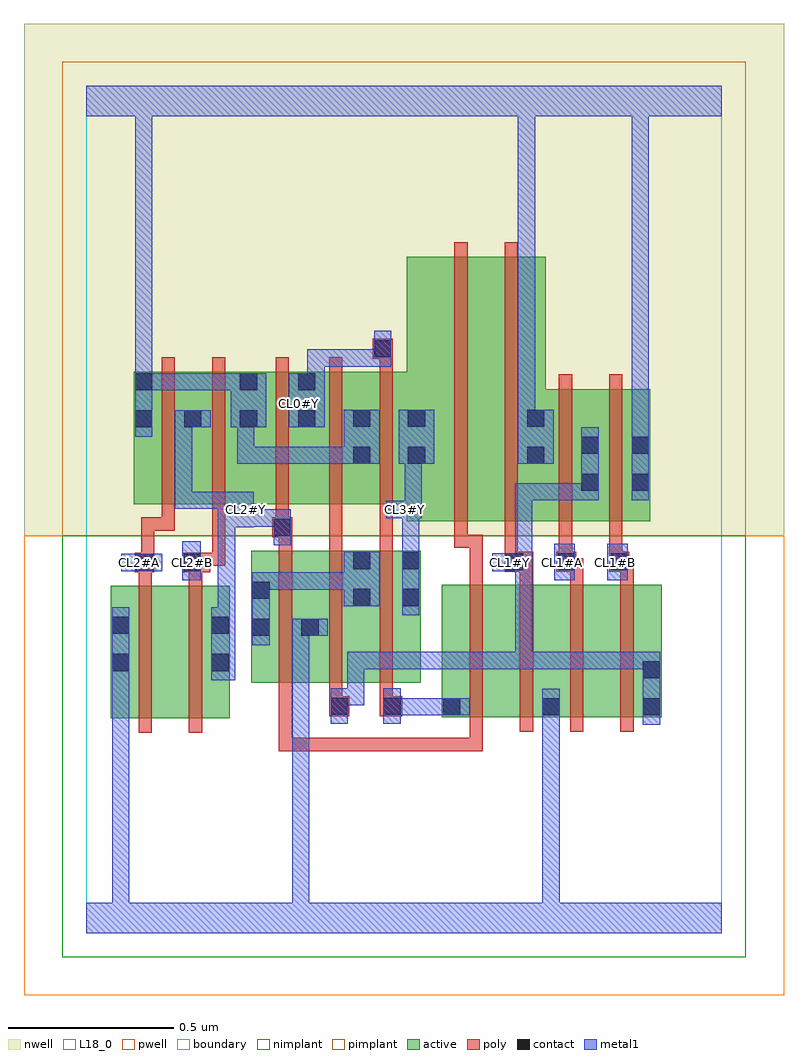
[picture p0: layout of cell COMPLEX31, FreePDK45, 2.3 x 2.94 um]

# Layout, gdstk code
import gdstk
lib = gdstk.Library(unit=1e-6, precision=1e-09)
def R(c, l, rs):  # rectangles x0, y0, x1, y1
    for r in rs: c.add(gdstk.rectangle(r[:2], r[2:], *l))
def A(c, l, x, y, w, h, nx, ny, dx, dy):  # array of equal rectangles
    R(c, l, [(x+i*dx, y+j*dy, x+i*dx+w, y+j*dy+h) for i in range(nx) for j in range(ny)])
active = (1, 0)
pwell = (2, 0)
nwell = (3, 0)
nimplant = (4, 0)
pimplant = (5, 0)
poly = (9, 0)
contact = (10, 0)
metal1 = (11, 0)
L18_0 = (18, 0)
boundary = (235, 0)

complex31 = lib.new_cell('COMPLEX31')
R(complex31, active, [(0.074,0.65,0.134,1.05), (0.074,0.65,0.254,1.05), (0.254,0.65,0.434,1.05), (0.374,0.65,0.434,1.05), (1.074,0.652,1.254,1.052), (1.254,0.652,1.434,1.052), (1.374,0.652,1.558,1.052), (1.374,0.652,1.434,0.828), (1.558,0.652,1.738,1.052), (1.678,0.652,1.738,1.052), (1.074,0.654,1.134,0.796), (0.498,0.756,0.558,1.156), (0.498,0.756,0.706,1.156), (0.646,0.756,0.862,1.156), (0.646,0.756,0.706,0.954), (0.802,0.756,0.862,1.156), (0.802,0.756,1.01,1.156), (0.95,0.756,1.01,1.156), (0.968,1.244,1.208,2.044), (1.208,1.244,1.388,2.044), (1.328,1.244,1.552,1.644), (1.328,1.244,1.388,2.044), (1.492,1.244,1.552,1.644), (1.492,1.244,1.704,1.644), (1.644,1.244,1.704,1.644), (0.144,1.296,0.204,1.696), (0.144,1.296,0.352,1.696), (0.292,1.296,0.352,1.696), (0.292,1.296,0.52,1.696), (0.46,1.296,0.52,1.696), (0.46,1.296,0.696,1.696), (0.636,1.296,0.862,1.696), (0.802,1.296,0.862,1.696), (0.802,1.296,1.028,1.696), (0.968,1.296,1.028,2.044), (0.636,1.338,0.696,1.696)])
R(complex31, pwell, [(-0.188,-0.188,2.108,1.2)])
R(complex31, nwell, [(-0.188,1.2,2.108,2.748)])
R(complex31, nimplant, [(-0.072,-0.072,1.992,1.2)])
R(complex31, pimplant, [(-0.072,1.2,1.992,2.632)])
A(complex31, poly, 0.582, 0.55, 0.04, 0.04, 3, 1, 0.106, 0)
A(complex31, poly, 1.158, 0.608, 0.04, 0.488, 4, 1, 0.152, 0)
A(complex31, poly, 0.582, 0.712, 0.04, 0.488, 3, 1, 0.152, 0)
A(complex31, poly, 1.31, 1.056, 0.04, 0.076, 3, 1, 0.152, 0)
R(complex31, poly, [(0.582,0.55,0.622,0.59), (0.582,0.55,0.622,0.59), (0.582,0.55,0.622,0.59), (0.582,0.55,0.622,0.59), (0.582,0.55,0.728,0.59), (0.582,0.55,0.622,0.752), (0.688,0.55,0.834,0.59), (0.794,0.55,0.834,0.59), (0.794,0.55,0.834,0.59), (0.794,0.55,1.046,0.59), (1.006,0.55,1.046,0.59), (1.006,0.55,1.046,0.59), (1.006,0.55,1.046,0.59), (1.006,0.55,1.198,0.59), (1.158,0.55,1.198,0.59), (1.158,0.55,1.198,0.59), (1.158,0.55,1.198,0.59), (1.158,0.55,1.198,0.648), (0.158,0.606,0.198,1.094), (0.31,0.606,0.35,1.094), (0.734,0.656,0.794,0.716), (0.886,0.656,0.954,0.716), (0.734,0.676,0.774,0.752), (0.886,0.676,0.926,0.752), (0.158,1.054,0.198,1.13), (0.31,1.054,0.35,1.13), (1.158,1.056,1.198,1.204), (0.146,1.09,0.206,1.15), (0.29,1.09,0.374,1.15), (1.264,1.092,1.35,1.152), (1.42,1.092,1.48,1.152), (1.44,1.092,1.48,1.132), (1.44,1.092,1.502,1.132), (1.58,1.092,1.64,1.152), (1.6,1.092,1.64,1.132), (1.6,1.092,1.654,1.132), (0.166,1.11,0.206,1.256), (0.334,1.11,0.374,1.15), (0.334,1.11,0.42,1.15), (0.38,1.11,0.42,1.292), (1.264,1.112,1.304,1.24), (1.264,1.112,1.304,1.152), (1.264,1.112,1.304,1.152), (1.428,1.112,1.468,1.24), (1.58,1.112,1.62,1.24), (0.582,1.16,0.622,1.236), (0.734,1.16,0.774,1.236), (0.886,1.16,0.926,1.256), (1.112,1.164,1.152,1.24), (1.112,1.164,1.198,1.204), (1.158,1.164,1.198,1.204), (1.158,1.164,1.198,1.204), (0.562,1.196,0.622,1.256), (0.582,1.196,0.622,1.236), (0.582,1.196,0.622,1.236), (0.734,1.196,0.774,1.236), (0.734,1.196,0.774,1.236), (0.734,1.196,0.774,1.236), (0.734,1.196,0.774,1.292), (1.112,1.2,1.152,2.088), (1.264,1.2,1.304,2.088), (1.428,1.2,1.468,1.688), (1.58,1.2,1.62,1.688), (0.166,1.216,0.268,1.256), (0.228,1.216,0.268,1.292), (0.572,1.216,0.612,1.292), (0.886,1.216,0.926,1.256), (0.886,1.216,0.926,1.256), (0.886,1.216,0.926,1.256), (0.886,1.216,0.926,1.292), (0.228,1.252,0.268,1.74), (0.38,1.252,0.42,1.74), (0.572,1.252,0.612,1.74), (0.734,1.252,0.774,1.74), (0.886,1.252,0.926,1.74), (0.886,1.7,0.926,1.776), (0.866,1.736,0.926,1.796)])
R(complex31, contact, [(1.078,0.658,1.13,0.71), (1.378,0.658,1.43,0.71), (1.682,0.658,1.734,0.71), (0.738,0.66,0.79,0.712), (0.898,0.66,0.95,0.712), (1.682,0.77,1.734,0.822), (0.078,0.792,0.13,0.844), (0.378,0.792,0.43,0.844), (0.502,0.898,0.554,0.95), (0.65,0.898,0.702,0.95), (0.078,0.904,0.13,0.956), (0.378,0.904,0.43,0.956), (0.806,0.988,0.858,1.04), (0.954,0.988,1.006,1.04), (0.502,1.01,0.554,1.062), (0.15,1.094,0.202,1.146), (0.294,1.094,0.346,1.146), (1.268,1.096,1.32,1.148), (1.424,1.096,1.476,1.148), (1.584,1.096,1.636,1.148), (0.806,1.1,0.858,1.152), (0.954,1.1,1.006,1.152), (0.566,1.2,0.618,1.252), (1.496,1.336,1.548,1.388), (1.648,1.336,1.7,1.388), (0.806,1.418,0.858,1.47), (0.972,1.418,1.024,1.47), (1.332,1.418,1.384,1.47), (1.496,1.448,1.548,1.5), (1.648,1.448,1.7,1.5), (0.148,1.528,0.2,1.58), (0.296,1.528,0.348,1.58), (0.464,1.528,0.516,1.58), (0.64,1.528,0.692,1.58), (0.806,1.53,0.858,1.582), (0.972,1.53,1.024,1.582), (1.332,1.53,1.384,1.582), (0.148,1.64,0.2,1.692), (0.464,1.64,0.516,1.692), (0.64,1.64,0.692,1.692), (0.87,1.74,0.922,1.792)])
A(complex31, metal1, 1.076, 0.798, 0.052, 0.052, 3, 1, 0.11, 0)
R(complex31, metal1, [(0,0,1.92,0.092), (0.078,0.04,0.13,0.092), (0.078,0.04,0.13,0.092), (0.078,0.04,0.13,0.092), (0.078,0.04,0.13,0.092), (0.078,0.04,0.13,0.092), (0.078,0.04,0.13,0.092), (0.078,0.04,0.13,0.092), (0.078,0.04,0.13,0.092), (0.078,0.04,0.13,0.092), (0.078,0.04,0.13,0.092), (0.078,0.04,0.13,0.092), (0.078,0.04,0.13,0.092), (0.078,0.04,0.13,0.816), (0.622,0.04,0.674,0.092), (0.622,0.04,0.674,0.092), (0.622,0.04,0.674,0.092), (0.622,0.04,0.674,0.092), (0.622,0.04,0.674,0.092), (0.622,0.04,0.674,0.092), (0.622,0.04,0.674,0.092), (0.622,0.04,0.674,0.092), (0.622,0.04,0.674,0.092), (0.622,0.04,0.674,0.092), (0.622,0.04,0.674,0.95), (1.378,0.04,1.43,0.092), (1.378,0.04,1.43,0.092), (1.378,0.04,1.43,0.092), (1.378,0.04,1.43,0.092), (1.378,0.04,1.43,0.092), (1.378,0.04,1.43,0.092), (1.378,0.04,1.43,0.092), (1.378,0.04,1.43,0.092), (1.378,0.04,1.43,0.092), (1.378,0.04,1.43,0.092), (1.378,0.04,1.43,0.092), (1.378,0.04,1.43,0.092), (1.378,0.04,1.43,0.682), (1.378,0.63,1.43,0.738), (1.682,0.63,1.734,0.85), (0.738,0.632,0.79,0.74), (0.898,0.632,0.95,0.74), (0.898,0.658,0.95,0.71), (0.898,0.658,0.95,0.71), (0.898,0.658,1.102,0.71), (1.05,0.658,1.102,0.71), (1.05,0.658,1.102,0.71), (1.05,0.658,1.158,0.71), (0.738,0.688,0.84,0.74), (0.788,0.688,0.84,0.74), (0.788,0.688,0.84,0.85), (0.078,0.764,0.13,0.984), (0.378,0.764,0.45,0.984), (0.788,0.798,0.84,0.85), (0.788,0.798,0.95,0.85), (0.898,0.798,0.95,0.85), (0.898,0.798,0.95,0.85), (0.898,0.798,0.95,0.85), (0.898,0.798,0.95,0.85), (0.898,0.798,0.95,0.85), (0.898,0.798,0.95,0.85), (0.898,0.798,0.95,0.85), (0.898,0.798,1.128,0.85), (1.076,0.798,1.128,0.85), (1.076,0.798,1.128,0.85), (1.076,0.798,1.128,0.85), (1.076,0.798,1.128,0.85), (1.076,0.798,1.238,0.85), (1.186,0.798,1.348,0.85), (1.296,0.798,1.348,0.85), (1.296,0.798,1.348,0.85), (1.296,0.798,1.516,0.85), (1.296,0.798,1.348,1.148), (1.464,0.798,1.516,0.85), (1.464,0.798,1.516,0.85), (1.464,0.798,1.516,0.85), (1.464,0.798,1.734,0.85), (1.682,0.798,1.734,0.85), (1.682,0.798,1.734,0.85), (0.502,0.87,0.554,1.09), (0.622,0.898,0.674,0.95), (0.622,0.898,0.674,0.95), (0.622,0.898,0.73,0.95), (0.398,0.932,0.45,0.984), (0.398,0.932,0.45,0.984), (0.398,0.932,0.45,1.278), (0.954,0.96,1.006,1.18), (0.778,0.988,0.886,1.152), (0.502,1.038,0.664,1.09), (0.612,1.038,0.664,1.09), (0.612,1.038,0.664,1.09), (0.612,1.038,0.664,1.09), (0.612,1.038,0.774,1.09), (0.722,1.038,0.774,1.09), (0.722,1.038,0.83,1.09), (0.29,1.066,0.346,1.184), (1.414,1.066,1.476,1.176), (1.574,1.066,1.636,1.176), (0.106,1.094,0.23,1.146), (1.226,1.094,1.348,1.148), (1.296,1.096,1.348,1.148), (1.296,1.096,1.348,1.148), (1.296,1.096,1.348,1.36), (0.954,1.128,1.006,1.306), (0.566,1.172,0.618,1.28), (0.398,1.226,0.506,1.334), (0.454,1.228,0.506,1.28), (0.454,1.228,0.506,1.28), (0.454,1.228,0.618,1.28), (0.906,1.254,1.014,1.306), (0.962,1.254,1.014,1.47), (0.268,1.282,0.32,1.334), (0.268,1.282,0.32,1.334), (0.268,1.282,0.32,1.334), (0.268,1.282,0.45,1.334), (0.268,1.282,0.32,1.58), (1.296,1.308,1.348,1.36), (1.296,1.308,1.348,1.36), (1.296,1.308,1.348,1.36), (1.296,1.308,1.458,1.36), (1.406,1.308,1.458,1.36), (1.406,1.308,1.548,1.36), (1.496,1.308,1.548,1.528), (1.648,1.308,1.7,1.528), (0.456,1.418,0.508,1.47), (0.456,1.418,0.508,1.47), (0.456,1.418,0.508,1.47), (0.456,1.418,0.508,1.58), (0.456,1.418,0.664,1.47), (0.612,1.418,0.664,1.47), (0.612,1.418,0.664,1.47), (0.612,1.418,0.664,1.47), (0.612,1.418,0.774,1.47), (0.722,1.418,0.774,1.47), (0.722,1.418,0.83,1.47), (0.778,1.418,0.886,1.582), (0.944,1.418,1.052,1.582), (0.962,1.418,1.014,1.47), (0.962,1.418,1.014,1.47), (1.304,1.418,1.412,1.582), (1.648,1.476,1.7,1.528), (1.648,1.476,1.7,1.528), (1.648,1.476,1.7,1.528), (1.648,1.476,1.7,1.528), (1.648,1.476,1.7,1.528), (1.648,1.476,1.7,1.528), (1.648,1.476,1.7,2.52), (0.148,1.5,0.2,1.72), (0.268,1.528,0.376,1.58), (0.436,1.528,0.544,1.692), (0.456,1.528,0.508,1.58), (0.456,1.528,0.508,1.58), (0.456,1.528,0.508,1.58), (0.456,1.528,0.508,1.58), (0.612,1.528,0.72,1.692), (1.304,1.53,1.356,1.582), (1.304,1.53,1.356,1.582), (1.304,1.53,1.356,2.52), (0.148,1.64,0.2,1.692), (0.148,1.64,0.2,1.692), (0.148,1.64,0.32,1.692), (0.268,1.64,0.32,1.692), (0.268,1.64,0.32,1.692), (0.268,1.64,0.32,1.692), (0.268,1.64,0.488,1.692), (0.668,1.64,0.72,1.764), (0.148,1.668,0.2,2.52), (0.668,1.712,0.72,1.764), (0.668,1.712,0.774,1.764), (0.722,1.712,0.774,1.764), (0.722,1.712,0.84,1.764), (0.788,1.712,0.84,1.764), (0.788,1.712,0.922,1.764), (0.87,1.712,0.922,1.82), (0,2.468,1.92,2.56), (0.148,2.468,0.2,2.52), (0.148,2.468,0.2,2.52), (0.148,2.468,0.2,2.52), (0.148,2.468,0.2,2.52), (0.148,2.468,0.2,2.52), (0.148,2.468,0.2,2.52), (0.148,2.468,0.2,2.52), (0.148,2.468,0.2,2.52), (0.148,2.468,0.2,2.52), (0.148,2.468,0.2,2.52), (0.148,2.468,0.2,2.52), (0.148,2.468,0.2,2.52), (0.148,2.468,0.2,2.52), (0.148,2.468,0.2,2.52), (0.148,2.468,0.2,2.52), (0.148,2.468,0.2,2.52), (1.304,2.468,1.356,2.52), (1.304,2.468,1.356,2.52), (1.304,2.468,1.356,2.52), (1.304,2.468,1.356,2.52), (1.304,2.468,1.356,2.52), (1.304,2.468,1.356,2.52), (1.648,2.468,1.7,2.52), (1.648,2.468,1.7,2.52), (1.648,2.468,1.7,2.52), (1.648,2.468,1.7,2.52), (1.648,2.468,1.7,2.52), (1.648,2.468,1.7,2.52), (1.648,2.468,1.7,2.52), (1.648,2.468,1.7,2.52), (1.648,2.468,1.7,2.52), (1.648,2.468,1.7,2.52)])
A(complex31, L18_0, 1.076, 0.798, 0.052, 0.052, 3, 1, 0.11, 0)
A(complex31, L18_0, 1.254, 1.094, 0.052, 0.052, 3, 1, 0.16, 0)
R(complex31, L18_0, [(0,0,1.92,0.092), (0.078,0.04,0.13,0.092), (0.078,0.04,0.13,0.092), (0.078,0.04,0.13,0.092), (0.078,0.04,0.13,0.092), (0.078,0.04,0.13,0.092), (0.078,0.04,0.13,0.092), (0.078,0.04,0.13,0.092), (0.078,0.04,0.13,0.092), (0.078,0.04,0.13,0.092), (0.078,0.04,0.13,0.092), (0.078,0.04,0.13,0.092), (0.078,0.04,0.13,0.092), (0.078,0.04,0.13,0.816), (0.622,0.04,0.674,0.092), (0.622,0.04,0.674,0.092), (0.622,0.04,0.674,0.092), (0.622,0.04,0.674,0.092), (0.622,0.04,0.674,0.092), (0.622,0.04,0.674,0.092), (0.622,0.04,0.674,0.092), (0.622,0.04,0.674,0.092), (0.622,0.04,0.674,0.092), (0.622,0.04,0.674,0.092), (0.622,0.04,0.674,0.95), (1.378,0.04,1.43,0.092), (1.378,0.04,1.43,0.092), (1.378,0.04,1.43,0.092), (1.378,0.04,1.43,0.092), (1.378,0.04,1.43,0.092), (1.378,0.04,1.43,0.092), (1.378,0.04,1.43,0.092), (1.378,0.04,1.43,0.092), (1.378,0.04,1.43,0.092), (1.378,0.04,1.43,0.092), (1.378,0.04,1.43,0.092), (1.378,0.04,1.43,0.092), (1.378,0.04,1.43,0.682), (1.378,0.63,1.43,0.738), (1.682,0.63,1.734,0.85), (0.738,0.632,0.79,0.74), (0.898,0.632,0.95,0.74), (0.898,0.658,0.95,0.71), (0.898,0.658,0.95,0.71), (0.898,0.658,1.102,0.71), (1.05,0.658,1.102,0.71), (1.05,0.658,1.102,0.71), (1.05,0.658,1.158,0.71), (0.738,0.688,0.84,0.74), (0.788,0.688,0.84,0.74), (0.788,0.688,0.84,0.85), (0.078,0.764,0.13,0.984), (0.378,0.764,0.45,0.984), (0.788,0.798,0.84,0.85), (0.788,0.798,0.95,0.85), (0.898,0.798,0.95,0.85), (0.898,0.798,0.95,0.85), (0.898,0.798,0.95,0.85), (0.898,0.798,0.95,0.85), (0.898,0.798,0.95,0.85), (0.898,0.798,0.95,0.85), (0.898,0.798,0.95,0.85), (0.898,0.798,1.128,0.85), (1.076,0.798,1.128,0.85), (1.076,0.798,1.128,0.85), (1.076,0.798,1.128,0.85), (1.076,0.798,1.128,0.85), (1.076,0.798,1.238,0.85), (1.186,0.798,1.348,0.85), (1.296,0.798,1.348,0.85), (1.296,0.798,1.348,0.85), (1.296,0.798,1.516,0.85), (1.296,0.798,1.348,1.148), (1.464,0.798,1.516,0.85), (1.464,0.798,1.516,0.85), (1.464,0.798,1.516,0.85), (1.464,0.798,1.734,0.85), (1.682,0.798,1.734,0.85), (1.682,0.798,1.734,0.85), (0.622,0.898,0.674,0.95), (0.622,0.898,0.674,0.95), (0.622,0.898,0.73,0.95), (0.398,0.932,0.45,0.984), (0.398,0.932,0.45,0.984), (0.398,0.932,0.45,1.278), (0.954,0.96,1.006,1.18), (0.29,1.066,0.346,1.184), (1.414,1.066,1.476,1.176), (1.574,1.066,1.636,1.176), (0.106,1.094,0.23,1.146), (0.134,1.094,0.186,1.146), (0.294,1.094,0.346,1.146), (1.226,1.094,1.348,1.148), (1.296,1.096,1.348,1.148), (1.296,1.096,1.348,1.148), (1.296,1.096,1.348,1.36), (0.954,1.128,1.006,1.306), (0.566,1.172,0.618,1.28), (0.398,1.226,0.506,1.334), (0.454,1.228,0.506,1.28), (0.454,1.228,0.506,1.28), (0.454,1.228,0.618,1.28), (0.454,1.254,0.506,1.306), (0.906,1.254,1.014,1.306), (0.934,1.254,0.986,1.306), (0.962,1.254,1.014,1.47), (0.268,1.282,0.32,1.334), (0.268,1.282,0.32,1.334), (0.268,1.282,0.32,1.334), (0.268,1.282,0.32,1.58), (0.268,1.282,0.45,1.334), (1.296,1.308,1.348,1.36), (1.296,1.308,1.348,1.36), (1.296,1.308,1.348,1.36), (1.296,1.308,1.458,1.36), (1.406,1.308,1.458,1.36), (1.406,1.308,1.548,1.36), (1.496,1.308,1.548,1.528), (1.648,1.308,1.7,1.528), (0.456,1.418,0.508,1.47), (0.456,1.418,0.508,1.47), (0.456,1.418,0.508,1.47), (0.456,1.418,0.508,1.58), (0.456,1.418,0.664,1.47), (0.612,1.418,0.664,1.47), (0.612,1.418,0.664,1.47), (0.612,1.418,0.664,1.47), (0.612,1.418,0.774,1.47), (0.722,1.418,0.774,1.47), (0.722,1.418,0.83,1.47), (0.778,1.418,0.886,1.582), (0.944,1.418,1.052,1.582), (0.962,1.418,1.014,1.47), (0.962,1.418,1.014,1.47), (1.304,1.418,1.412,1.582), (1.648,1.476,1.7,1.528), (1.648,1.476,1.7,1.528), (1.648,1.476,1.7,1.528), (1.648,1.476,1.7,1.528), (1.648,1.476,1.7,1.528), (1.648,1.476,1.7,1.528), (1.648,1.476,1.7,2.52), (0.148,1.5,0.2,1.72), (0.268,1.528,0.376,1.58), (0.436,1.528,0.544,1.692), (0.456,1.528,0.508,1.58), (0.456,1.528,0.508,1.58), (0.456,1.528,0.508,1.58), (0.456,1.528,0.508,1.58), (0.612,1.528,0.72,1.692), (1.304,1.53,1.356,1.582), (1.304,1.53,1.356,1.582), (1.304,1.53,1.356,2.52), (0.614,1.574,0.666,1.626), (0.148,1.64,0.2,1.692), (0.148,1.64,0.2,1.692), (0.148,1.64,0.32,1.692), (0.268,1.64,0.32,1.692), (0.268,1.64,0.32,1.692), (0.268,1.64,0.32,1.692), (0.268,1.64,0.488,1.692), (0.668,1.64,0.72,1.764), (0.148,1.668,0.2,2.52), (0.668,1.712,0.72,1.764), (0.668,1.712,0.774,1.764), (0.722,1.712,0.774,1.764), (0.722,1.712,0.84,1.764), (0.788,1.712,0.84,1.764), (0.788,1.712,0.922,1.764), (0.87,1.712,0.922,1.82), (0,2.468,1.92,2.56), (0.148,2.468,0.2,2.52), (0.148,2.468,0.2,2.52), (0.148,2.468,0.2,2.52), (0.148,2.468,0.2,2.52), (0.148,2.468,0.2,2.52), (0.148,2.468,0.2,2.52), (0.148,2.468,0.2,2.52), (0.148,2.468,0.2,2.52), (0.148,2.468,0.2,2.52), (0.148,2.468,0.2,2.52), (0.148,2.468,0.2,2.52), (0.148,2.468,0.2,2.52), (0.148,2.468,0.2,2.52), (0.148,2.468,0.2,2.52), (0.148,2.468,0.2,2.52), (0.148,2.468,0.2,2.52), (1.304,2.468,1.356,2.52), (1.304,2.468,1.356,2.52), (1.304,2.468,1.356,2.52), (1.304,2.468,1.356,2.52), (1.304,2.468,1.356,2.52), (1.304,2.468,1.356,2.52), (1.648,2.468,1.7,2.52), (1.648,2.468,1.7,2.52), (1.648,2.468,1.7,2.52), (1.648,2.468,1.7,2.52), (1.648,2.468,1.7,2.52), (1.648,2.468,1.7,2.52), (1.648,2.468,1.7,2.52), (1.648,2.468,1.7,2.52), (1.648,2.468,1.7,2.52), (1.648,2.468,1.7,2.52)])
R(complex31, boundary, [(0,0,1.92,2.56)])
complex31.add(gdstk.Label('CL0#Y', (0.64,1.6), layer=11, texttype=0))
complex31.add(gdstk.Label('CL1#A', (1.44,1.12), layer=11, texttype=0))
complex31.add(gdstk.Label('CL1#B', (1.6,1.12), layer=11, texttype=0))
complex31.add(gdstk.Label('CL1#Y', (1.28,1.12), layer=11, texttype=0))
complex31.add(gdstk.Label('CL2#A', (0.16,1.12), layer=11, texttype=0))
complex31.add(gdstk.Label('CL2#B', (0.32,1.12), layer=11, texttype=0))
complex31.add(gdstk.Label('CL2#Y', (0.48,1.28), layer=11, texttype=0))
complex31.add(gdstk.Label('CL3#Y', (0.96,1.28), layer=11, texttype=0))

lib.write_gds('COMPLEX31.gds')
